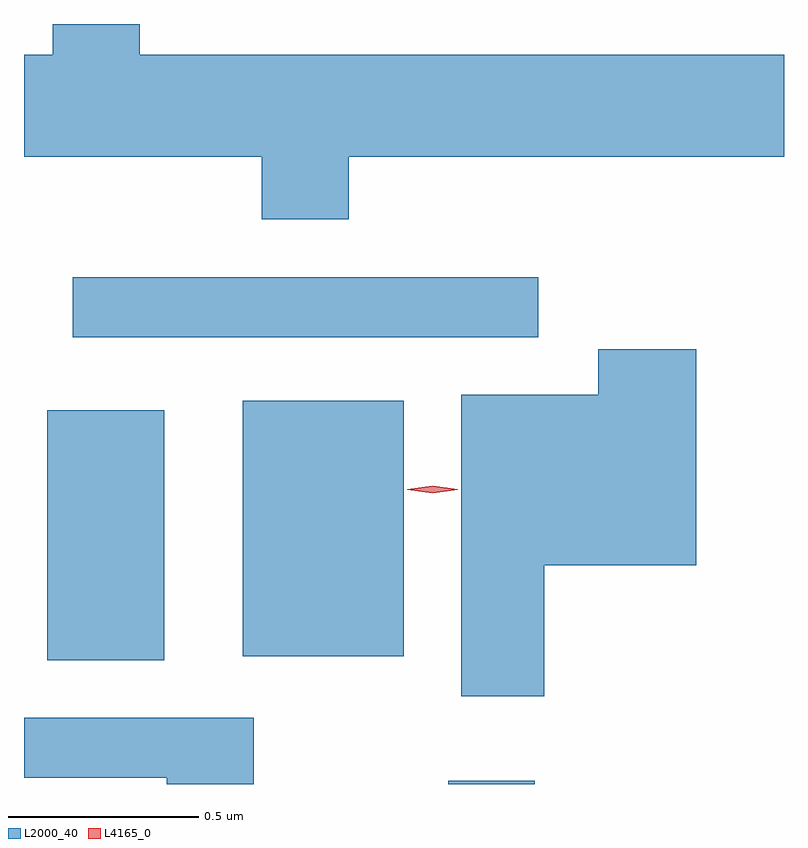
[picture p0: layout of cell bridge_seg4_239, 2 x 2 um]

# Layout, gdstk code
import gdstk
lib = gdstk.Library(unit=1e-6, precision=1e-09)
def R(c, l, rs):  # rectangles x0, y0, x1, y1
    for r in rs: c.add(gdstk.rectangle(r[:2], r[2:], *l))
def P(c, l, *ps):  # polygons
    for p in ps: c.add(gdstk.Polygon(p, *l))
L2000_40 = (2000, 40)
L4165_0 = (4165, 0)

bridge_seg4_239 = lib.new_cell('bridge_seg4_239')
R(bridge_seg4_239, L2000_40, [(589.311,1341.925,589.539,1341.934), (588.256,1342.251,588.564,1342.909), (588.771,1342.261,589.194,1342.934), (588.323,1343.101,589.548,1343.259)])
P(bridge_seg4_239, L2000_40, [(589.049,1343.576),(590.195,1343.576),(590.195,1343.844),(588.499,1343.844),(588.499,1343.925),(588.271,1343.925),(588.271,1343.844),(588.195,1343.844),(588.195,1343.576),(588.821,1343.576),(588.821,1343.411),(589.049,1343.411)],
  [(589.564,1342.501),(589.964,1342.501),(589.964,1343.069),(589.706,1343.069),(589.706,1342.949),(589.346,1342.949),(589.346,1342.156),(589.564,1342.156)],
  [(588.799,1342.099),(588.195,1342.099),(588.195,1341.941),(588.571,1341.941),(588.571,1341.925),(588.799,1341.925)])
P(bridge_seg4_239, L4165_0, [(589.27,1342.69),(589.204,1342.7),(589.203,1342.7),(589.204,1342.701),(589.27,1342.71),(589.336,1342.701),(589.337,1342.7),(589.336,1342.7)])

lib.write_gds('bridge_seg4_239.gds')
